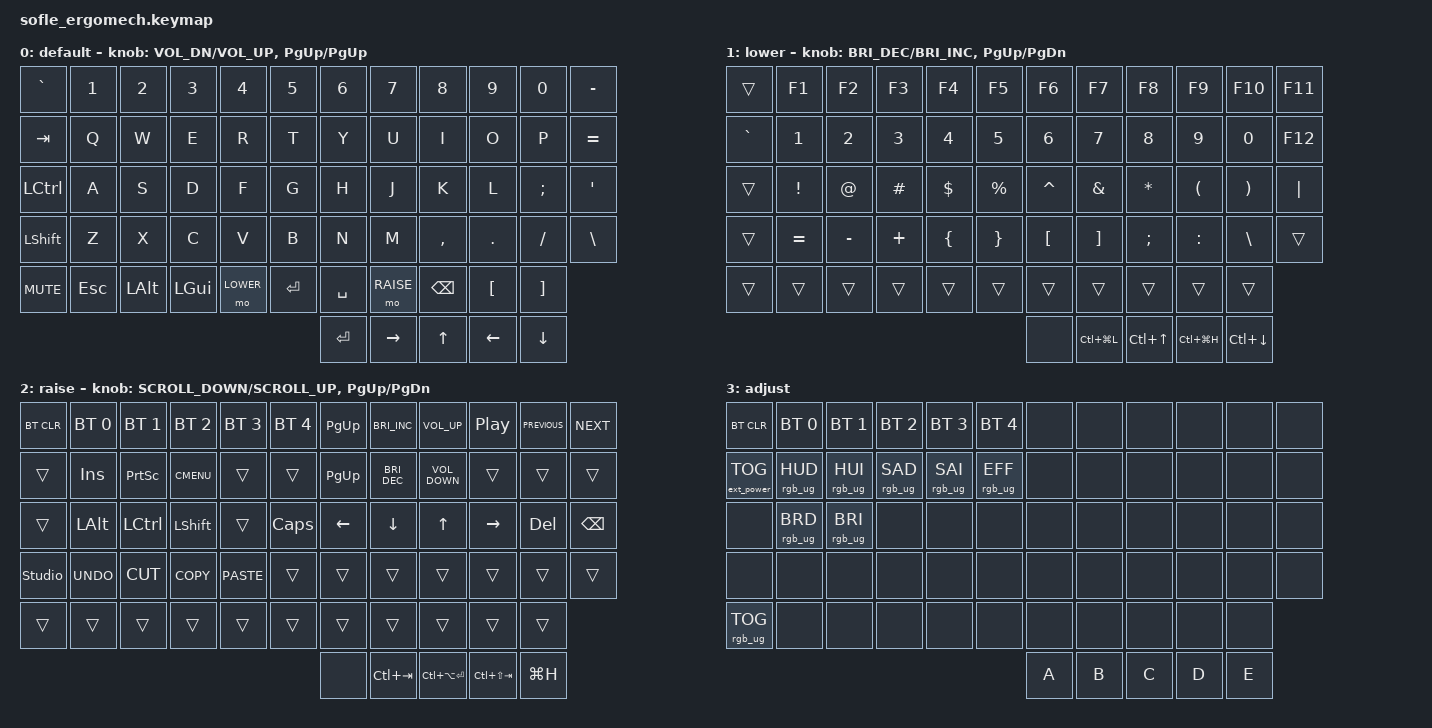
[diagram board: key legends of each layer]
/*
 * Copyright (c) 2020 The ZMK Contributors
 *
 * SPDX-License-Identifier: MIT
 */

#include <behaviors.dtsi>
#include <dt-bindings/zmk/bt.h>
#include <dt-bindings/zmk/ext_power.h>
#include <dt-bindings/zmk/keys.h>
#include <dt-bindings/zmk/rgb.h>

#define BASE 0
#define LOWER 1
#define RAISE 2
#define ADJUST 3

/ {
    // Activate ADJUST layer by pressing raise and lower

    conditional_layers {
        compatible = "zmk,conditional-layers";

        adjust_layer {
            if-layers = <LOWER RAISE>;
            then-layer = <ADJUST>;
        };
    };

    combos {
        compatible = "zmk,combos";

        spotlight {
            bindings = <&kp LC(LG(SPACE))>;
            key-positions = <0 11>;
        };

        switch_lang {
            bindings = <&kp LA(LC(SPACE))>;
            key-positions = <12 23>;
        };

        escape_with_jk {
            bindings = <&kp ESCAPE>;
            key-positions = <31 32>;
        };
    };

    keymap {
        compatible = "zmk,keymap";

        default_layer {
            label = "default";

            // ------------------------------------------------------------------------------------------------------------
            // |   `   |  1  |  2  |  3   |  4   |  5   |                   |  6   |  7    |  8    |  9   |   0   |       |
            // |  ESC  |  Q  |  W  |  E   |  R   |  T   |                   |  Y   |  U    |  I    |  O   |   P   | BKSPC |
            // |  TAB  |  A  |  S  |  D   |  F   |  G   |                   |  H   |  J    |  K    |  L   |   ;   |   '   |
            // | SHIFT |  Z  |  X  |  C   |  V   |  B   |  MUTE  |  |       |  N   |  M    |  ,    |  .   |   /   | SHIFT |
            //               | GUI | ALT  | CTRL | LOWER|  ENTER |  | SPACE | RAISE| CTRL  | ALT   | GUI  |

            bindings = <
&kp GRAVE   &kp N1      &kp N2    &kp N3    &kp N4     &kp N5   &kp N6     &kp N7           &kp N8         &kp N9            &kp N0             &kp MINUS
&kp TAB     &kp Q       &kp W     &kp E     &kp R      &kp T    &kp Y      &kp U            &kp I          &kp O             &kp P              &kp EQUAL
&kp LCTRL   &kp A       &kp S     &kp D     &kp F      &kp G    &kp H      &kp J            &kp K          &kp L             &kp SEMI           &kp SQT
&kp LSHFT   &kp Z       &kp X     &kp C     &kp V      &kp B    &kp N      &kp M            &kp COMMA      &kp DOT           &kp FSLH           &kp BACKSLASH
&kp C_MUTE  &kp ESCAPE  &kp LALT  &kp LGUI  &mo LOWER  &kp RET  &kp SPACE  &mo RAISE        &kp BACKSPACE  &kp LEFT_BRACKET  &kp RIGHT_BRACKET
                                                                &kp ENTER  &kp RIGHT_ARROW  &kp UP_ARROW   &kp LEFT_ARROW    &kp DOWN_ARROW
            >;

            sensor-bindings =
                <&inc_dec_kp C_VOL_DN C_VOL_UP>,
                <&inc_dec_kp PG_UP PG_UP>;
        };

        lower_layer {
            label = "lower";

            // TODO: Some binds are waiting for shifted keycode support.
            // ------------------------------------------------------------------------------------------------------------
            // |       |  F1 |  F2 |  F3  |  F4  |  F5  |                   |  F6  |  F7   |  F8   |  F9  |  F10  |  F11  |
            // |   `   |  1  |  2  |  3   |  4   |  5   |                   |  6   |  7    |  8    |  9   |   0   |  F12  |
            // |       |  !  |  @  |  #   |  $   |  %   |                   |  ^   |  &    |  *    |  (   |   )   |   |   |
            // |       |  =  |  -  |  +   |  {   |  }   |        |  |       |  [   |  ]    |  ;    |  :   |   \   |       |
            //               |     |      |      |      |        |  |       |      |       |       |      |

            bindings = <
&trans     &kp F1     &kp F2     &kp F3    &kp F4    &kp F5     &kp F6     &kp F7         &kp F8            &kp F9         &kp F10             &kp F11
&kp GRAVE  &kp N1     &kp N2     &kp N3    &kp N4    &kp N5     &kp N6     &kp N7         &kp N8            &kp N9         &kp N0              &kp F12
&trans     &kp EXCL   &kp AT     &kp HASH  &kp DLLR  &kp PRCNT  &kp CARET  &kp AMPS       &kp ASTRK         &kp LPAR       &kp RPAR            &kp PIPE
&trans     &kp EQUAL  &kp MINUS  &kp PLUS  &kp LBRC  &kp RBRC   &kp LBKT   &kp RBKT       &kp SEMI          &kp COLON      &kp BSLH            &trans
&trans     &trans     &trans     &trans    &trans    &trans     &trans     &trans         &trans            &trans         &trans
                                                                &none      &kp LC(LG(L))  &kp LC(UP_ARROW)  &kp LC(LG(H))  &kp LC(DOWN_ARROW)
            >;

            sensor-bindings =
                <&inc_dec_kp C_BRIGHTNESS_DEC C_BRIGHTNESS_INC>,
                <&inc_dec_kp PG_UP PG_DN>;
        };

        raise_layer {
            label = "raise";

            // ------------------------------------------------------------------------------------------------------------
            // | BTCLR | BT1  | BT2  |  BT3  |  BT4  |  BT5 |                |      |      |       |      |       |       |
            // |       | INS  | PSCR | GUI   |       |      |                | PGUP |      |   ^   |      |       |       |
            // |       | ALT  | CTRL | SHIFT |       | CAPS |                | PGDN |   <- |   v   |  ->  |  DEL  | BKSPC |
            // |       | UNDO | CUT  | COPY  | PASTE |      |      |  |      |      |      |       |      |       |       |
            //                |      |       |       |      |      |  |      |      |      |       |      |

            bindings = <
&bt BT_CLR      &bt BT_SEL 0  &bt BT_SEL 1  &bt BT_SEL 2  &bt BT_SEL 3  &bt BT_SEL 4  &kp PAGE_UP  &kp C_BRIGHTNESS_INC  &kp C_VOLUME_UP    &kp C_PLAY_PAUSE  &kp C_PREVIOUS  &kp C_NEXT
&trans          &kp INS       &kp PSCRN     &kp K_CMENU   &trans        &trans        &kp PG_UP    &kp C_BRIGHTNESS_DEC  &kp C_VOLUME_DOWN  &trans            &trans          &trans
&trans          &kp LALT      &kp LCTRL     &kp LSHFT     &trans        &kp CLCK      &kp LEFT     &kp DOWN_ARROW        &kp UP_ARROW       &kp RIGHT         &kp DEL         &kp BSPC
&studio_unlock  &kp K_UNDO    &kp K_CUT     &kp K_COPY    &kp K_PASTE   &trans        &trans       &trans                &trans             &trans            &trans          &trans
&trans          &trans        &trans        &trans        &trans        &trans        &trans       &trans                &trans             &trans            &trans
                                                                                      &none        &kp LC(TAB)           &kp LC(LA(ENTER))  &kp LC(LS(TAB))   &kp LG(H)
            >;

            sensor-bindings =
                <&inc_dec_kp K_SCROLL_DOWN K_SCROLL_UP>,
                <&inc_dec_kp PG_UP PG_DN>;
        };

        adjust_layer {
            // ----------------------------------------------------------------------------------------------------------------------------
            // | BTCLR  |  BT1    |  BT2    |   BT3   |   BT4   |   BT5   |                  |      |      |       |      |       |       |
            // | EXTPWR | RGB_HUD | RGB_HUI | RGB_SAD | RGB_SAI | RGB_EFF |                  |      |      |       |      |       |       |
            // |        | RGB_BRD | RGB_BRI |         |         |         |                  |      |      |       |      |       |       |
            // |        |         |         |         |         |         | RGB_TOG | |      |      |      |       |      |       |       |
            //                    |         |         |         |         |         | |      |      |      |       |      |

            label = "adjust";
            bindings = <
&bt BT_CLR         &bt BT_SEL 0     &bt BT_SEL 1     &bt BT_SEL 2     &bt BT_SEL 3     &bt BT_SEL 4     &none  &none  &none  &none  &none  &none
&ext_power EP_TOG  &rgb_ug RGB_HUD  &rgb_ug RGB_HUI  &rgb_ug RGB_SAD  &rgb_ug RGB_SAI  &rgb_ug RGB_EFF  &none  &none  &none  &none  &none  &none
&none              &rgb_ug RGB_BRD  &rgb_ug RGB_BRI  &none            &none            &none            &none  &none  &none  &none  &none  &none
&none              &none            &none            &none            &none            &none            &none  &none  &none  &none  &none  &none
&rgb_ug RGB_TOG    &none            &none            &none            &none            &none            &none  &none  &none  &none  &none
                                                                                                        &kp A  &kp B  &kp C  &kp D  &kp E
            >;
        };
    };
};
